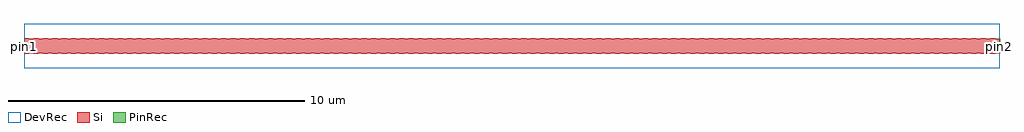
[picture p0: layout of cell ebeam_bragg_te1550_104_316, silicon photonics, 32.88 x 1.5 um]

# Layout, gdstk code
import gdstk
lib = gdstk.Library(unit=1e-6, precision=1e-09)
def R(c, l, rs):  # rectangles x0, y0, x1, y1
    for r in rs: c.add(gdstk.rectangle(r[:2], r[2:], *l))
def A(c, l, x, y, w, h, nx, ny, dx, dy):  # array of equal rectangles
    R(c, l, [(x+i*dx, y+j*dy, x+i*dx+w, y+j*dy+h) for i in range(nx) for j in range(ny)])
Si = (1, 0)
PinRec = (1, 10)
DevRec = (68, 0)

ebeam_bragg_te1550_104_3 = lib.new_cell('ebeam_bragg_te1550_104_316')
A(ebeam_bragg_te1550_104_3, Si, 0, -0.26, 0.158, 0.26, 104, 2, 0.316, 0.26)
A(ebeam_bragg_te1550_104_3, Si, 0.158, -0.24, 0.158, 0.24, 104, 2, 0.316, 0.24)
R(ebeam_bragg_te1550_104_3, DevRec, [(0,-0.75,32.864,0.75)])
ebeam_bragg_te1550_104_3.add(gdstk.FlexPath([(0.01,0),(-0.01,0)], 0.5, ends="flush", simple_path=True, layer=1, datatype=10))  # PinRec
ebeam_bragg_te1550_104_3.add(gdstk.FlexPath([(32.854,0),(32.874,0)], 0.5, ends="flush", simple_path=True, layer=1, datatype=10))  # PinRec
ebeam_bragg_te1550_104_3.add(gdstk.Label('pin1', (0,0), layer=1, texttype=10))
ebeam_bragg_te1550_104_3.add(gdstk.Label('pin2', (32.864,0), layer=1, texttype=10))
ebeam_bragg_te1550_104_3.add(gdstk.Label('Lumerical_INTERCONNECT_library=Design kits/ebeam', (0,0), layer=68, texttype=0))
ebeam_bragg_te1550_104_3.add(gdstk.Label('Component=ebeam_bragg_te1550', (3.286,0), layer=68, texttype=0))
ebeam_bragg_te1550_104_3.add(gdstk.Label('Spice_param:number_of_periods=104 grating_period=3.16e-07 corrugation_width=2e-08 misalignment=0 sinusoidal=0', (3.651,0), layer=68, texttype=0))

lib.write_gds('ebeam_bragg_te1550_104_316.gds')
